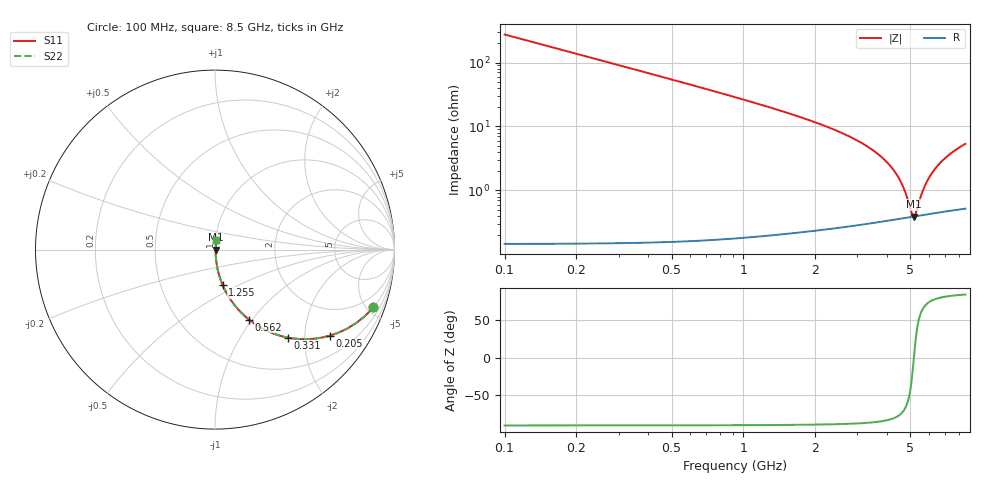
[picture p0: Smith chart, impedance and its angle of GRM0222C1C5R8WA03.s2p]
!Murata Part Number: GRM0222C1C5R8WA03
!These Parameters are Measured in Series Mode Connection
!Data Generated on Mar 30, 2021
!  o--ll--o
!Port1  Port2
!  o------o
!Operation Temp=25[degC], DC Bias Voltage=0[V]
!Freq. Start=100[MHz] Stop=9[GHz] 401[Steps]
# Hz S RI R 50
!Freq.(Hz) S11(Real) S11(Imag) S21(Real) S21(Imag) S12(Real) S12(Imag) S22(Real) S22(Imag)
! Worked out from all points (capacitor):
!   401 points, 100 MHz to 8.5 GHz, reference 50 ohm
!   read as one part in series: C = 5.8 pF near 142 MHz
!   lowest |Z| = 392 mohm at 5.161 GHz (marker M1)
!   series resonance near 5.171 GHz, so ESL is about 160 pH
!   S11 on the Smith chart (normalised r, x): 100 MHz: 1.00, -5.49; 205 MHz: 1.00, -2.67; 331 MHz: 1.00, -1.65; 562 MHz: 1.00, -0.96; 1.255 GHz: 1.00, -0.41; 8.5 GHz: 1.01, +0.11
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1e8  0.8825 -0.3217  0.1174 0.3217  0.1174 0.3217  0.8825 -0.3217
2.05e8  0.6409 -0.4792  0.3591 0.4792  0.3591 0.4792  0.6409 -0.4792
3.31e8  0.4054 -0.4901  0.5946 0.4901  0.5946 0.4901  0.4054 -0.4901
4.36e8  0.2811 -0.4483  0.7189 0.4483  0.7189 0.4483  0.2811 -0.4483
5.62e8  0.1894 -0.3902  0.8106 0.3902  0.8106 0.3902  0.1894 -0.3902
8.35e8  0.0939 -0.289  0.9061 0.289  0.9061 0.289  0.0939 -0.289
1.255e9  0.0421 -0.1961  0.9579 0.1961  0.9579 0.1961  0.0421 -0.1961
1.507e9  0.0287 -0.1609  0.9713 0.1609  0.9713 0.1609  0.0287 -0.1609
2.914e9  0.0068 -0.0631  0.9932 0.0631  0.9932 0.0631  0.0068 -0.0631
3.733e9  0.0044 -0.0345  0.9956 0.0345  0.9956 0.0345  0.0044 -0.0345
4.3e9  0.00386 -0.0192  0.9961 0.0192  0.9961 0.0192  0.00386 -0.0192
4.657e9  0.00378 -0.0109  0.9962 0.0109  0.9962 0.0109  0.00378 -0.0109
4.825e9  0.00379 -0.00718  0.9962 0.00718  0.9962 0.00718  0.00379 -0.00718
5.056e9  0.00385 -0.00233  0.9961 0.00233  0.9961 0.00233  0.00385 -0.00233
5.161e9  0.0039 -0.000204  0.9961 0.000204  0.9961 0.000204  0.0039 -0.000204
5.266e9  0.00395 0.00188  0.9961 -0.00188  0.9961 -0.00188  0.00395 0.00188
5.518e9  0.0041 0.0067  0.9959 -0.0067  0.9959 -0.0067  0.0041 0.0067
5.707e9  0.00425 0.0102  0.9958 -0.0102  0.9958 -0.0102  0.00425 0.0102
5.959e9  0.00447 0.0146  0.9955 -0.0146  0.9955 -0.0146  0.00447 0.0146
6.274e9  0.00478 0.02  0.9952 -0.02  0.9952 -0.02  0.00478 0.02
7.114e9  0.00581 0.0332  0.9942 -0.0332  0.9942 -0.0332  0.00581 0.0332
8.5e9  0.00795 0.0526  0.992 -0.0526  0.992 -0.0526  0.00795 0.0526
